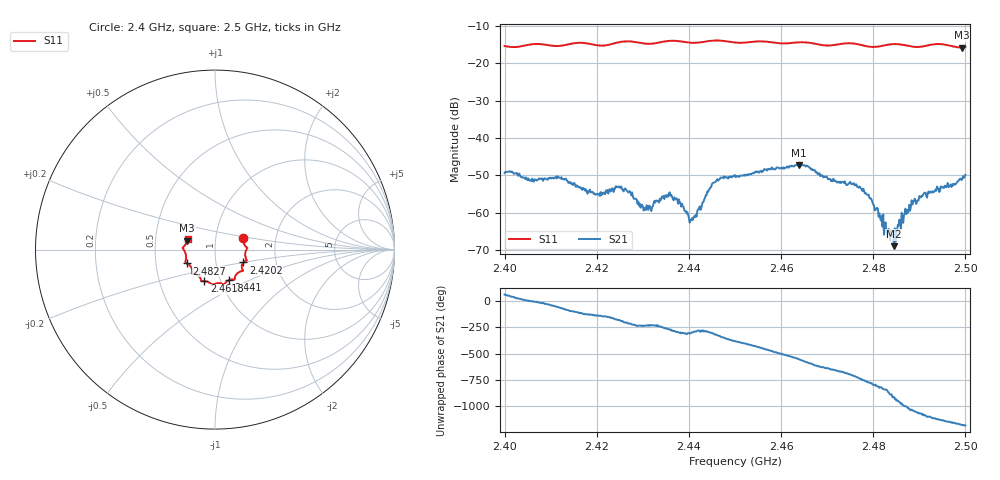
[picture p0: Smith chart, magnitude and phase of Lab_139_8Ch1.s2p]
# Hz S RI R 50
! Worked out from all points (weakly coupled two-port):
!   601 points, 2.4 GHz to 2.5 GHz, reference 50 ohm
!   highest |S21| = -47.18 dB at 2.4638 GHz (marker M1); lowest = -68.9 dB at 2.4845 GHz (marker M2)
!   lowest |S11| = -15.8 dB at 2.4992 GHz (marker M3), VSWR 1.39, Z = 36.5 + j3.7 ohm
!   |S11| at or under -10 dB: start of sweep to end of sweep
!   S12 and S22 are empty: the file has one direction only
!   S11 on the Smith chart (normalised r, x): 2.4 GHz: 1.36, +0.17; 2.4202 GHz: 1.36, -0.20; 2.441 GHz: 1.10, -0.39; 2.4618 GHz: 0.84, -0.30; 2.4827 GHz: 0.72, -0.11; 2.5 GHz: 0.73, +0.09
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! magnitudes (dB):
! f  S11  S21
! 2.4 GHz  -15.4  -49.3
! 2.4058 GHz  -14.9  -51.5
! 2.412 GHz  -15.4  -50.7
! 2.4167 GHz  -14.6  -53.4
! 2.4202 GHz  -15.2  -54.9
! 2.4248 GHz  -14.4  -52.9
! 2.4302 GHz  -14.7  -59.4
! 2.4333 GHz  -14.5  -56.8
! 2.4358 GHz  -14.0  -54.5
! 2.441 GHz  -14.6  -61.2
! 2.4455 GHz  -13.9  -51.8
! 2.45 GHz  -14.5  -49.9
! 2.4618 GHz  -14.6  -47.5
! 2.4638 GHz  -14.4  -47.2
! 2.4667 GHz  -14.6  -48.2
! 2.4775 GHz  -15.2  -53.6
! 2.4827 GHz  -15.2  -62.5
! 2.4833 GHz  -15.0  -64.3
! 2.4845 GHz  -14.9  -68.9
! 2.4887 GHz  -15.6  -57.0
! 2.4992 GHz  -15.8  -51.2
! 2.5 GHz  -15.7  -49.8
